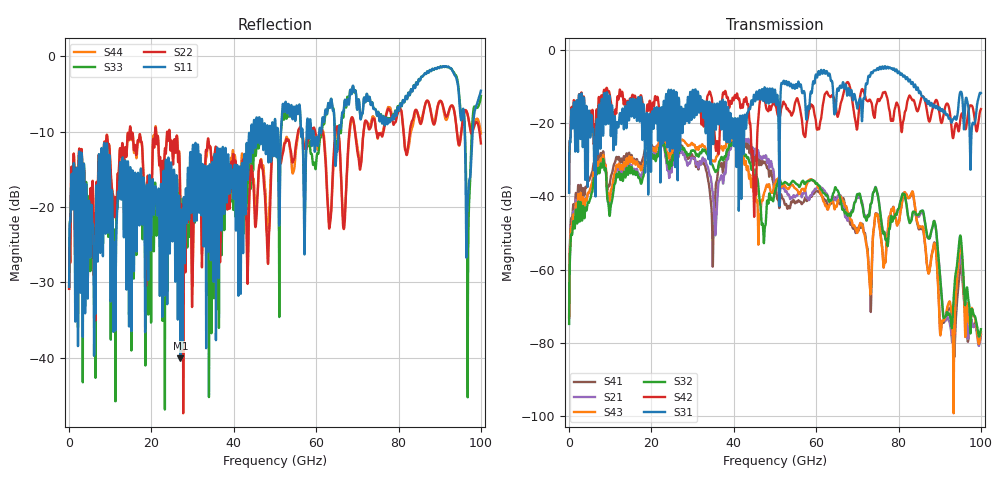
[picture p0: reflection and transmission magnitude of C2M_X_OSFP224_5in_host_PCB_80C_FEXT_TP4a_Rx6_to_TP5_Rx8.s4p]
# GHz S RI R 45
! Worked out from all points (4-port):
!   4000 points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, 25 MHz to 100 GHz, reference 45 ohm
!   strongest paths, dB at 25 MHz, 25.02 GHz, 50.02 GHz, 75.03 GHz, 100 GHz:
!     S31: -39.0, -15.9, -10.9, -5.2, -11.7
!     S42: -38.8, -18.4, -15.0, -13.3, -16.1
!     S32: -74.9, -30.4, -38.7, -39.9, -76.3
!     S43: -73.3, -27.3, -36.5, -45.5, -77.2
!     S21: -73.0, -31.1, -36.9, -39.8, -77.8
!     S41: -70.8, -28.3, -38.6, -45.3, -77.9
!   lowest |S11| = -40.1 dB at 27.05 GHz (marker M1), VSWR 1.02, Z = 45.8 - j0.496 ohm
!   |S11| at or under -10 dB: start of sweep to 44.22 GHz; 59.34 GHz to 60.74 GHz (1.403 GHz wide, 2.34 % of centre); 96.08 GHz to 98.01 GHz (1.929 GHz wide, 1.99 % of centre)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
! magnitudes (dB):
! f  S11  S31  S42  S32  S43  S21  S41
! 25 MHz  -30.6  -39.0  -38.8  -74.9  -73.3  -73.0  -70.8
! 6.725 GHz  -17.1  -19.0  -16.2  -33.6  -31.7  -32.2  -29.9
! 27.05 GHz  -40.1  -20.4  -19.9  -26.9  -24.6  -27.7  -25.9
! 45.08 GHz  -9.5  -12.9  -39.8  -33.2  -36.1  -28.3  -30.1
! 73.1 GHz  -5.8  -7.1  -13.6  -43.0  -65.4  -43.0  -64.6
! 83.25 GHz  -4.6  -8.9  -13.5  -45.8  -38.8  -45.9  -39.0
! 100 GHz  -4.6  -11.7  -16.1  -76.3  -77.2  -77.8  -77.9
